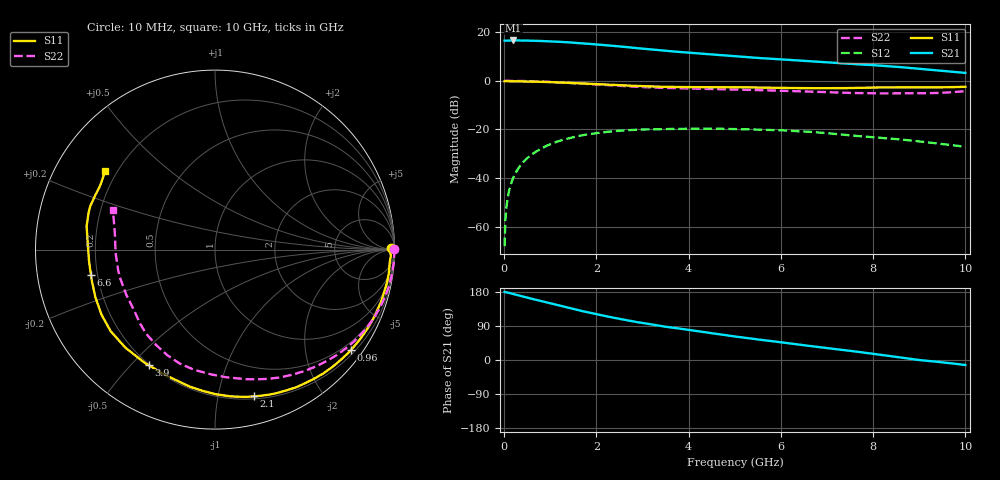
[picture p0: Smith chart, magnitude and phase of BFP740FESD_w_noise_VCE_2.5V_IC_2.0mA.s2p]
! Infineon Technologies  Discrete & RF Semiconductors
! BFP740FESD
! VCE =  2.5 V,  IC =  2.0 mA
! Common Emitter S-Parameters:  Jan 2016
# GHz  S  MA  R  50
!  f  S11  S21  S12  S22
! GHz  MAG  ANG  MAG  ANG  MAG  ANG  MAG  ANG
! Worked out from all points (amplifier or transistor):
!   233 points, 10 MHz to 10 GHz, reference 50 ohm
!   highest |S21| = 16.6 dB at 200 MHz (marker M1)
!   |S21| within 3 dB of that: start of sweep to 2.798 GHz
!   unconditionally stable (mu >= 1): start of sweep to 10.19 MHz; 8.493 GHz to end of sweep
!   at 200 MHz: K = 0.00, MSG = 28.2 dB, |S12| = -39.7 dB
!   at 1.74 GHz: K = 0.12, MSG = 18.8 dB, |S12| = -22.2 dB
!   at 10 GHz: K = 1.70, MAG = 10.3 dB, |S12| = -27.1 dB
!   lowest NFmin = 0.40 dB at 450 MHz
!   S11 on the Smith chart (normalised r, x): 10 MHz: 80, +32; 960 MHz: 0.31, -3.00; 2.1 GHz: 0.22, -1.27; 3.9 GHz: 0.20, -0.56; 6.6 GHz: 0.17, -0.10; 10 GHz: 0.16, +0.31
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0.01  0.9786 0.5  6.7 179.6  0.0004 6.7  0.9964 0.1
0.025  0.9772 -1.1  6.659 179.4  0.0013 83.9  0.9995 -0.7
0.06  0.9796 -2.3  6.675 178.2  0.0031 87.8  0.9991 -1.7
0.115  0.976 -4.5  6.72 176.8  0.0059 87.5  0.9989 -3.2
0.2  0.9774 -7.7  6.741 174.1  0.0103 85.0  0.9974 -5.6
0.52  0.9658 -19.9  6.687 164.1  0.0267 76.2  0.985 -14.4
0.96  0.9412 -36.5  6.482 150.7  0.0478 64.2  0.9526 -26.6
1.3  0.9162 -49.0  6.25 140.4  0.0623 55.1  0.9186 -35.9
1.68  0.882 -62.1  5.91 129.4  0.0755 45.3  0.8745 -45.9
2.1  0.8456 -75.2  5.474 118.4  0.0863 35.6  0.8275 -56.3
2.4  0.8219 -84.1  5.184 110.9  0.0927 29.3  0.7972 -63.4
2.8  0.789 -95.3  4.77 101.7  0.098 21.3  0.7583 -72.4
3.4  0.754 -109.5  4.212 89.9  0.1017 11.2  0.7189 -83.1
3.9  0.7425 -119.9  3.846 81.1  0.1031 4.4  0.6983 -90.5
4.5  0.7401 -132.4  3.491 70.6  0.1041 -3.5  0.6799 -99.8
5.1  0.7349 -143.6  3.149 60.6  0.1018 -11.3  0.6596 -108.8
6  0.7175 -158.3  2.76 46.7  0.0961 -21.8  0.6247 -121.7
6.6  0.7057 -168.3  2.54 37.4  0.0898 -28.6  0.6009 -130.6
6.8  0.7041 -171.5  2.464 34.4  0.0868 -30.6  0.5923 -133.2
8.4  0.7342 163.3  1.972 9.8  0.0648 -39.5  0.5519 -162.9
9  0.7326 155.5  1.768 -0.1  0.0568 -42.0  0.5541 -178.1
10  0.7528 144.5  1.451 -13.3  0.044 -39.9  0.6104 158.8
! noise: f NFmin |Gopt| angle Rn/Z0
0.45  0.4  0.8  7  0.23
2.4  0.69  0.53  46  0.21
5.5  1  0.56  124  0.11
10  2.12  0.55  -145  0.17
